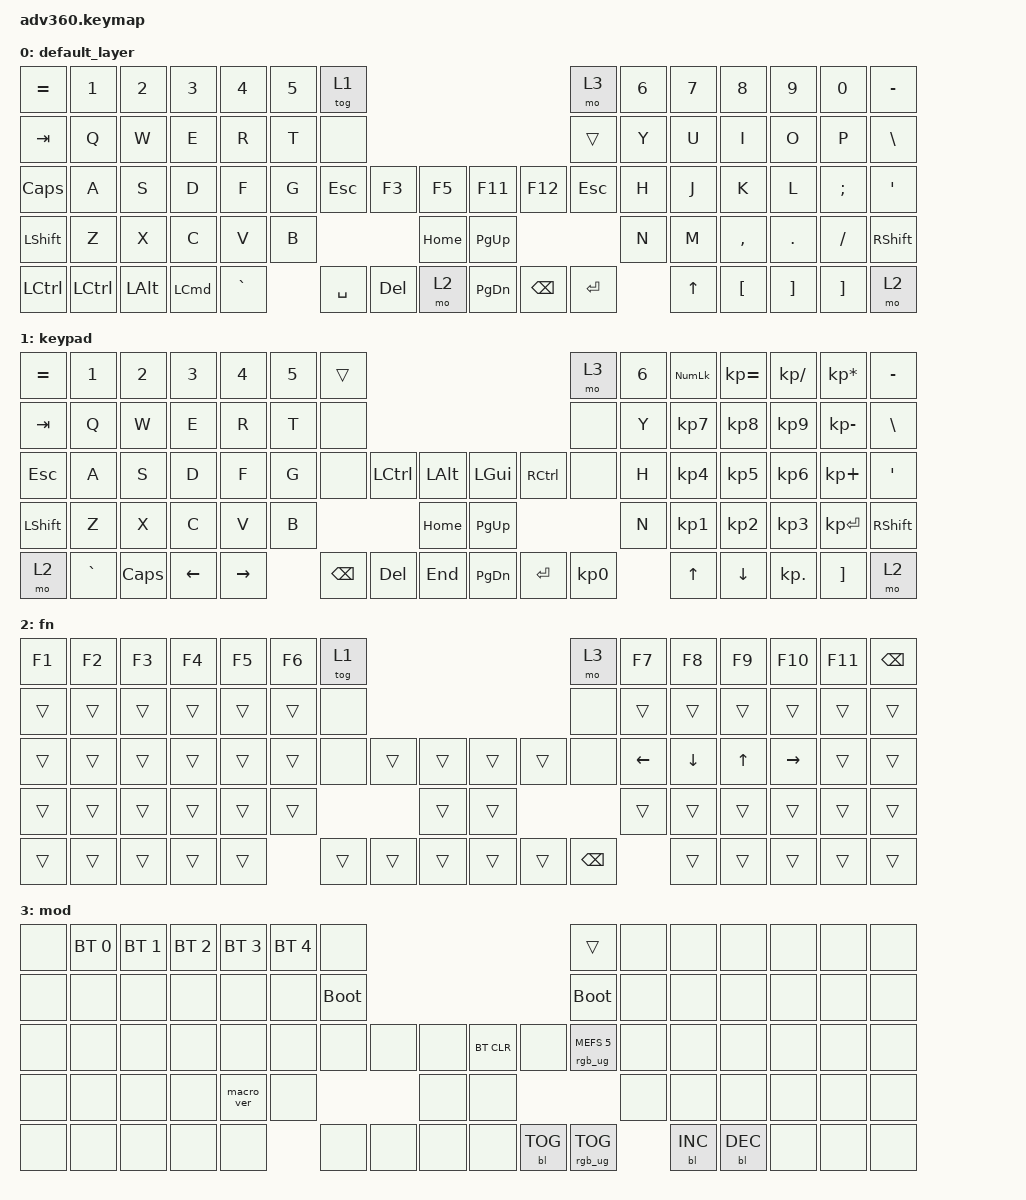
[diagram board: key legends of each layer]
#include <behaviors.dtsi>
#include <dt-bindings/zmk/backlight.h>
#include <dt-bindings/zmk/bt.h>
#include <dt-bindings/zmk/keys.h>
#include <dt-bindings/zmk/rgb.h>

/ {
    behaviors {
        #include "macros.dtsi"
      #include "version.dtsi"
      #ifndef VERSION_MACRO

        macro_ver: macro_ver {
            compatible = "zmk,behavior-macro";
            label = "macro_version";
            #binding-cells = <0>;
            bindings = <&kp RET>;
        };

        #endif

        hm: homerow_mods {
            compatible = "zmk,behavior-hold-tap";
            label = "HOMEROW_MODS";
            #binding-cells = <2>;
            tapping-term-ms = <200>;
            quick_tap_ms = <175>;
            flavor = "tap-preferred";
            bindings = <&kp>, <&kp>;
        };
    };

    combos {
        compatible = "zmk,combos";

        JK_TO_ESC {
            bindings = <&kp ESC>;
            key-positions = <41 42>;
            timeout-ms = <200>;
            require-prior-idle-ms = <200>;
        };
    };

    macros {
    };

    keymap {
        compatible = "zmk,keymap";

        default_layer {
            bindings = <
&kp EQUAL     &kp N1     &kp N2        &kp N3            &kp N4     &kp N5  &tog 1                                                      &mo 3      &kp N6  &kp N7  &kp N8            &kp N9             &kp N0    &kp MINUS
&kp TAB       &kp Q      &kp W         &kp E             &kp R      &kp T   &none                                                       &trans     &kp Y   &kp U   &kp I             &kp O              &kp P     &kp BSLH
&kp CAPSLOCK  &kp A      &kp S         &kp D             &kp F      &kp G   &kp ESC    &kp F3   &kp F5        &kp F11    &kp F12        &kp ESC    &kp H   &kp J   &kp K             &kp L              &kp SEMI  &kp SQT
&kp LSHFT     &kp Z      &kp X         &kp C             &kp V      &kp B                       &kp HOME      &kp PG_UP                            &kp N   &kp M   &kp COMMA         &kp DOT            &kp FSLH  &kp RSHFT
&kp LCTRL     &kp LCTRL  &kp LEFT_ALT  &kp LEFT_COMMAND  &kp GRAVE          &kp SPACE  &kp DEL  &mo 2         &kp PG_DN  &kp BACKSPACE  &kp ENTER          &kp UP  &kp LEFT_BRACKET  &kp RIGHT_BRACKET  &kp RBKT  &mo 2
            >;
        };

        keypad {
            bindings = <
&kp EQUAL  &kp N1     &kp N2    &kp N3    &kp N4     &kp N5  &trans                                                   &mo 3      &kp N6  &kp KP_NUM  &kp KP_EQUAL  &kp KP_DIVIDE  &kp KP_MULTIPLY  &kp MINUS
&kp TAB    &kp Q      &kp W     &kp E     &kp R      &kp T   &none                                                    &none      &kp Y   &kp KP_N7   &kp KP_N8     &kp KP_N9      &kp KP_MINUS     &kp BSLH
&kp ESC    &kp A      &kp S     &kp D     &kp F      &kp G   &none     &kp LCTRL  &kp LALT      &kp LGUI   &kp RCTRL  &none      &kp H   &kp KP_N4   &kp KP_N5     &kp KP_N6      &kp KP_PLUS      &kp SQT
&kp LSHFT  &kp Z      &kp X     &kp C     &kp V      &kp B                        &kp HOME      &kp PG_UP                        &kp N   &kp KP_N1   &kp KP_N2     &kp KP_N3      &kp KP_ENTER     &kp RSHFT
&mo 2      &kp GRAVE  &kp CAPS  &kp LEFT  &kp RIGHT          &kp BSPC  &kp DEL    &kp END       &kp PG_DN  &kp ENTER  &kp KP_N0          &kp UP      &kp DOWN      &kp KP_DOT     &kp RBKT         &mo 2
            >;
        };

        fn {
            bindings = <
&kp F1  &kp F2  &kp F3  &kp F4  &kp F5  &kp F6  &tog 1                                      &mo 3          &kp F7    &kp F8    &kp F9  &kp F10    &kp F11  &kp BACKSPACE
&trans  &trans  &trans  &trans  &trans  &trans  &none                                       &none          &trans    &trans    &trans  &trans     &trans   &trans
&trans  &trans  &trans  &trans  &trans  &trans  &none   &trans  &trans      &trans  &trans  &none          &kp LEFT  &kp DOWN  &kp UP  &kp RIGHT  &trans   &trans
&trans  &trans  &trans  &trans  &trans  &trans                  &trans      &trans                         &trans    &trans    &trans  &trans     &trans   &trans
&trans  &trans  &trans  &trans  &trans          &trans  &trans  &trans      &trans  &trans  &kp BACKSPACE            &trans    &trans  &trans     &trans   &trans
            >;
        };

        mod {
            bindings = <
&none  &bt BT_SEL 0  &bt BT_SEL 1  &bt BT_SEL 2  &bt BT_SEL 3  &bt BT_SEL 4  &none                                                  &trans                  &none  &none       &none       &none  &none  &none
&none  &none         &none         &none         &none         &none         &bootloader                                            &bootloader             &none  &none       &none       &none  &none  &none
&none  &none         &none         &none         &none         &none         &none        &none  &none      &bt BT_CLR  &none       &rgb_ug RGB_MEFS_CMD 5  &none  &none       &none       &none  &none  &none
&none  &none         &none         &none         &macro_ver    &none                             &none      &none                                           &none  &none       &none       &none  &none  &none
&none  &none         &none         &none         &none                       &none        &none  &none      &none       &bl BL_TOG  &rgb_ug RGB_TOG                &bl BL_INC  &bl BL_DEC  &none  &none  &none
            >;
        };
    };
};
